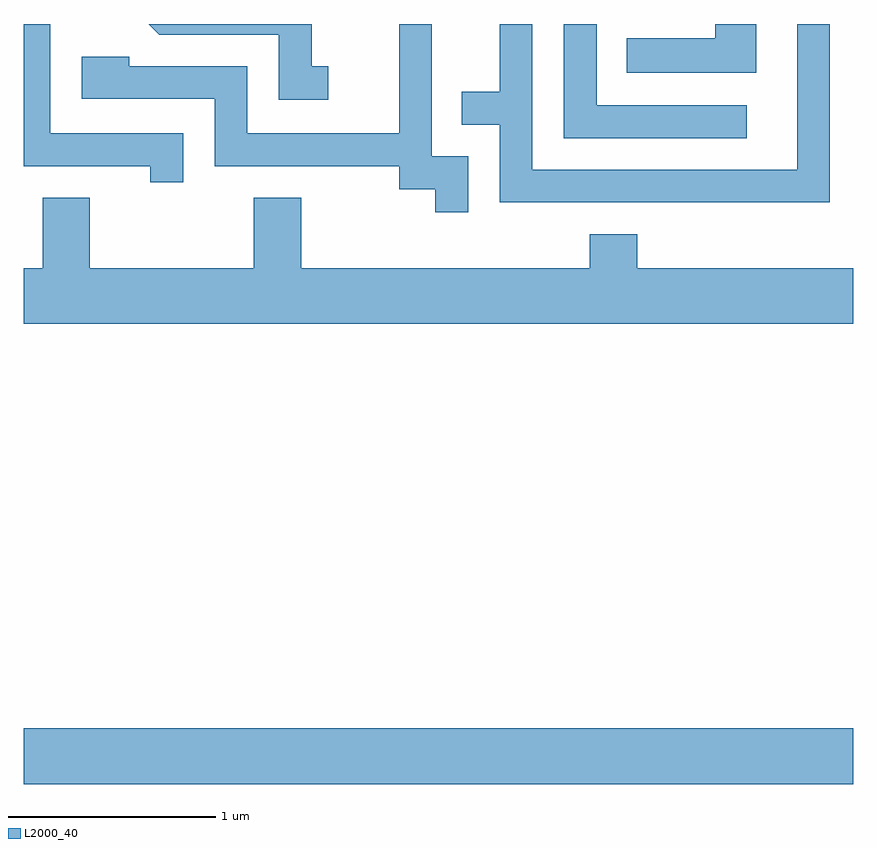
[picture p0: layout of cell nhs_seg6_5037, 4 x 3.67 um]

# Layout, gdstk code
import gdstk
lib = gdstk.Library(unit=1e-6, precision=1e-09)
def R(c, l, rs):  # rectangles x0, y0, x1, y1
    for r in rs: c.add(gdstk.rectangle(r[:2], r[2:], *l))
def P(c, l, *ps):  # polygons
    for p in ps: c.add(gdstk.Polygon(p, *l))
L2000_40 = (2000, 40)

nhs_seg6_5037 = lib.new_cell('nhs_seg6_5037')
R(nhs_seg6_5037, L2000_40, [(339.611,1534.496,343.611,1534.764)])
P(nhs_seg6_5037, L2000_40, [(343.144,1538.162),(342.946,1538.162),(342.946,1538.094),(342.518,1538.094),(342.518,1537.926),(343.144,1537.926)],
  [(340.379,1537.634),(339.739,1537.634),(339.739,1538.162),(339.611,1538.162),(339.611,1537.476),(340.221,1537.476),(340.221,1537.398),(340.379,1537.398)],
  [(341.078,1537.959),(340.999,1537.959),(340.999,1538.162),(340.213,1538.162),(340.264,1538.111),(340.841,1538.111),(340.841,1537.796),(341.078,1537.796)],
  [(341.754,1537.524),(341.579,1537.524),(341.579,1538.162),(341.421,1538.162),(341.421,1537.634),(340.689,1537.634),(340.689,1537.959),(340.119,1537.959),(340.119,1538.004),(339.891,1538.004),(339.891,1537.801),(340.531,1537.801),(340.531,1537.476),(341.421,1537.476),(341.421,1537.366),(341.596,1537.366),(341.596,1537.253),(341.754,1537.253)],
  [(343.098,1537.769),(342.374,1537.769),(342.374,1538.162),(342.216,1538.162),(342.216,1537.611),(343.098,1537.611)],
  [(343.499,1538.162),(343.341,1538.162),(343.341,1537.459),(342.064,1537.459),(342.064,1538.162),(341.906,1538.162),(341.906,1537.834),(341.723,1537.834),(341.723,1537.676),(341.906,1537.676),(341.906,1537.301),(343.499,1537.301)],
  [(343.611,1536.984),(342.569,1536.984),(342.569,1537.149),(342.341,1537.149),(342.341,1536.984),(340.949,1536.984),(340.949,1537.324),(340.721,1537.324),(340.721,1536.984),(339.929,1536.984),(339.929,1537.324),(339.701,1537.324),(339.701,1536.984),(339.611,1536.984),(339.611,1536.716),(343.611,1536.716)])

lib.write_gds('nhs_seg6_5037.gds')
